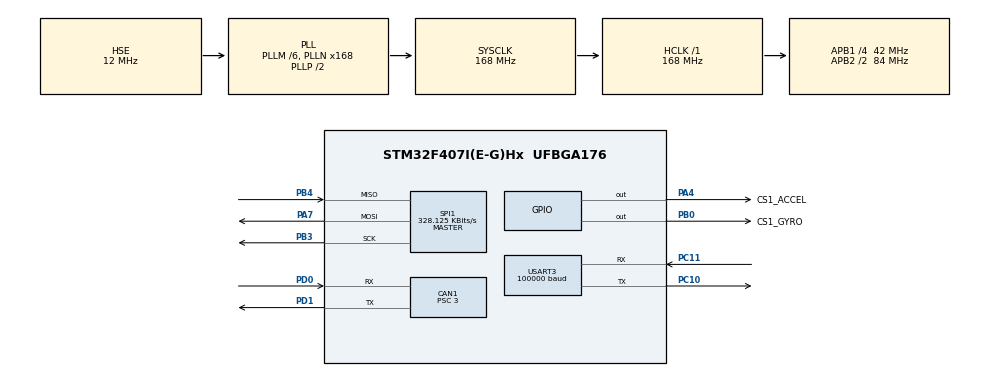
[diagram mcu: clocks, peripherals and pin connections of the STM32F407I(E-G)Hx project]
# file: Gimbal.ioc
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CAN1.ABOM=ENABLE
CAN1.BS1=CAN_BS1_10TQ
CAN1.BS2=CAN_BS2_3TQ
CAN1.CalculateBaudRate=1000000
CAN1.CalculateTimeBit=1000
CAN1.CalculateTimeQuantum=71.42857142857143
CAN1.Prescaler=3
Dma.Request0=USART3_RX
Dma.USART3_RX.0.Direction=DMA_PERIPH_TO_MEMORY
Dma.USART3_RX.0.FIFOMode=DMA_FIFOMODE_DISABLE
Dma.USART3_RX.0.Instance=DMA1_Stream1
Dma.USART3_RX.0.MemDataAlignment=DMA_MDATAALIGN_BYTE
Dma.USART3_RX.0.MemInc=DMA_MINC_ENABLE
Dma.USART3_RX.0.Mode=DMA_NORMAL
Dma.USART3_RX.0.PeriphDataAlignment=DMA_PDATAALIGN_BYTE
Dma.USART3_RX.0.PeriphInc=DMA_PINC_DISABLE
Dma.USART3_RX.0.Priority=DMA_PRIORITY_LOW
FREERTOS.Tasks01=defaultTask,24,128,StartDefaultTask,Default,NULL,Dynamic,NULL,NULL
Mcu.Family=STM32F4
Mcu.Name=STM32F407I(E-G)Hx
Mcu.Package=UFBGA176
NVIC.CAN1_RX0_IRQn=true\:6\:0\:true\:false\:true\:true\:true\:true\:true
NVIC.CAN1_SCE_IRQn=true\:5\:0\:false\:false\:true\:true\:true\:true\:true
NVIC.DMA1_Stream1_IRQn=true\:0\:0\:true\:false\:true\:false\:false\:true\:true
NVIC.PriorityGroup=NVIC_PRIORITYGROUP_4
NVIC.TIM6_DAC_IRQn=true\:15\:0\:false\:false\:true\:false\:false\:true\:true
NVIC.TIM7_IRQn=true\:0\:0\:true\:false\:true\:false\:true\:true\:true
NVIC.TimeBase=TIM6_DAC_IRQn
NVIC.TimeBaseIP=TIM6
PA13.Mode=Serial_Wire
PA13.Signal=SYS_JTMS-SWDIO
PA14.Mode=Serial_Wire
PA14.Signal=SYS_JTCK-SWCLK
PA4.GPIO_Label=CS1_ACCEL
PA4.PinState=GPIO_PIN_SET
PA4.Signal=GPIO_Output
PA7.Mode=Full_Duplex_Master
PA7.Signal=SPI1_MOSI
PB0.GPIO_Label=CS1_GYRO
PB0.PinState=GPIO_PIN_SET
PB0.Signal=GPIO_Output
PB3.Mode=Full_Duplex_Master
PB3.Signal=SPI1_SCK
PB4.Mode=Full_Duplex_Master
PB4.Signal=SPI1_MISO
PC10.Mode=Asynchronous
PC10.Signal=USART3_TX
PC11.Mode=Asynchronous
PC11.Signal=USART3_RX
PD0.GPIO_PuPd=GPIO_NOPULL
PD0.Mode=CAN_Activate
PD0.Signal=CAN1_RX
PD1.Mode=CAN_Activate
PD1.Signal=CAN1_TX
PH0-OSC_IN.Mode=HSE-External-Oscillator
PH0-OSC_IN.Signal=RCC_OSC_IN
PH1-OSC_OUT.Mode=HSE-External-Oscillator
PH1-OSC_OUT.Signal=RCC_OSC_OUT
ProjectManager.HeapSize=0x200
ProjectManager.StackSize=0x400
ProjectManager.TargetToolchain=CMake
RCC.48MHZClocksFreq_Value=84000000
RCC.AHBFreq_Value=168000000
RCC.APB1CLKDivider=RCC_HCLK_DIV4
RCC.APB1Freq_Value=42000000
RCC.APB1TimFreq_Value=84000000
RCC.APB2CLKDivider=RCC_HCLK_DIV2
RCC.APB2Freq_Value=84000000
RCC.APB2TimFreq_Value=168000000
RCC.CortexFreq_Value=168000000
RCC.HCLKFreq_Value=168000000
RCC.HSE_VALUE=12000000
RCC.HSI_VALUE=16000000
RCC.LSE_VALUE=32768
RCC.PLLM=6
RCC.PLLN=168
RCC.PLLSourceVirtual=RCC_PLLSOURCE_HSE
RCC.SYSCLKFreq_VALUE=168000000
RCC.SYSCLKSource=RCC_SYSCLKSOURCE_PLLCLK
RCC.VCOOutputFreq_Value=336000000
SPI1.BaudRatePrescaler=SPI_BAUDRATEPRESCALER_256
SPI1.CLKPhase=SPI_PHASE_2EDGE
SPI1.CLKPolarity=SPI_POLARITY_HIGH
SPI1.CalculateBaudRate=328.125 KBits/s
SPI1.Direction=SPI_DIRECTION_2LINES
SPI1.Mode=SPI_MODE_MASTER
SPI1.VirtualType=VM_MASTER
TIM7.Period=2625 - 1
TIM7.Prescaler=256 - 1
USART3.BaudRate=100000
USART3.Parity=PARITY_EVEN
USART3.VirtualMode=VM_ASYNC
USART3.WordLength=WORDLENGTH_9B
VP_FREERTOS_VS_CMSIS_V2.Mode=CMSIS_V2
VP_SYS_VS_tim6.Mode=TIM6
VP_TIM7_VS_ClockSourceINT.Mode=Enable_Timer
board=custom

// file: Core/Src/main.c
/* USER CODE BEGIN Header */
/**
  ******************************************************************************
  * @file           : main.c
  * @brief          : Main program body
  ******************************************************************************
  * @attention
  *
  * Copyright (c) 2025 STMicroelectronics.
  * All rights reserved.
  *
  * This software is licensed under terms that can be found in the LICENSE file
  * in the root directory of this software component.
  * If no LICENSE file comes with this software, it is provided AS-IS.
  *
  ******************************************************************************
  */
/* USER CODE END Header */
#include "main.h"
#include "cmsis_os.h"
#include "can.h"
#include "dma.h"
#include "spi.h"
#include "tim.h"
#include "usart.h"
#include "gpio.h"
#include "BMI088.h"

/* USER CODE BEGIN PV */
unsigned char rx_buf[20];
CAN_FilterTypeDef filter_config = {
    .FilterIdHigh = 0x000,
    .FilterIdLow = 0x000,
    .FilterMaskIdHigh = 0x000,
    .FilterMaskIdLow = 0x000,
    .FilterFIFOAssignment = CAN_FILTER_FIFO0,
    .FilterBank = 0,
    .FilterMode = CAN_FILTERMODE_IDMASK,
    .FilterScale = CAN_FILTERSCALE_32BIT,
    .FilterActivation = ENABLE
  };
/* USER CODE END PV */

void SystemClock_Config(void);
void MX_FREERTOS_Init(void);

int main(void)
{

  /* MCU Configuration--------------------------------------------------------*/

  /* Reset of all peripherals, Initializes the Flash interface and the Systick. */
  HAL_Init();

  /* Configure the system clock */
  SystemClock_Config();

  /* Initialize all configured peripherals */
  MX_GPIO_Init();
  MX_DMA_Init();
  MX_TIM7_Init();
  MX_USART3_UART_Init();
  MX_SPI1_Init();
  MX_CAN1_Init();
  /* USER CODE BEGIN 2 */
    HAL_UARTEx_ReceiveToIdle_DMA(&huart3, rx_buf, 18);
    HAL_CAN_ConfigFilter(&hcan1, &filter_config);
    HAL_CAN_Start(&hcan1);
    HAL_CAN_ActivateNotification(&hcan1, CAN_IT_RX_FIFO0_MSG_PENDING);
    HAL_TIM_Base_Start_IT(&htim7);
	bmi088_init();
  /* USER CODE END 2 */

  /* Init scheduler */
  osKernelInitialize();  /* Call init function for freertos objects (in cmsis_os2.c) */
  MX_FREERTOS_Init();

  /* Start scheduler */
  osKernelStart();

  /* We should never get here as control is now taken by the scheduler */

  /* Infinite loop */
  while (1)
  {

  }
}

void SystemClock_Config(void)
{
  RCC_OscInitTypeDef RCC_OscInitStruct = {0};
  RCC_ClkInitTypeDef RCC_ClkInitStruct = {0};

  /** Configure the main internal regulator output voltage
  */
  __HAL_RCC_PWR_CLK_ENABLE();
  __HAL_PWR_VOLTAGESCALING_CONFIG(PWR_REGULATOR_VOLTAGE_SCALE1);

  /** Initializes the RCC Oscillators according to the specified parameters
  * in the RCC_OscInitTypeDef structure.
  */
  RCC_OscInitStruct.OscillatorType = RCC_OSCILLATORTYPE_HSE;
  RCC_OscInitStruct.HSEState = RCC_HSE_ON;
  RCC_OscInitStruct.PLL.PLLState = RCC_PLL_ON;
  RCC_OscInitStruct.PLL.PLLSource = RCC_PLLSOURCE_HSE;
  RCC_OscInitStruct.PLL.PLLM = 6;
  RCC_OscInitStruct.PLL.PLLN = 168;
  RCC_OscInitStruct.PLL.PLLP = RCC_PLLP_DIV2;
  RCC_OscInitStruct.PLL.PLLQ = 4;
  if (HAL_RCC_OscConfig(&RCC_OscInitStruct) != HAL_OK)
  {
    Error_Handler();
  }

  /** Initializes the CPU, AHB and APB buses clocks
  */
  RCC_ClkInitStruct.ClockType = RCC_CLOCKTYPE_HCLK|RCC_CLOCKTYPE_SYSCLK
                              |RCC_CLOCKTYPE_PCLK1|RCC_CLOCKTYPE_PCLK2;
  RCC_ClkInitStruct.SYSCLKSource = RCC_SYSCLKSOURCE_PLLCLK;
  RCC_ClkInitStruct.AHBCLKDivider = RCC_SYSCLK_DIV1;
  RCC_ClkInitStruct.APB1CLKDivider = RCC_HCLK_DIV4;
  RCC_ClkInitStruct.APB2CLKDivider = RCC_HCLK_DIV2;

  if (HAL_RCC_ClockConfig(&RCC_ClkInitStruct, FLASH_LATENCY_5) != HAL_OK)
  {
    Error_Handler();
  }
}

void HAL_TIM_PeriodElapsedCallback(TIM_HandleTypeDef *htim)
{
  if (htim->Instance == TIM6)
  {
    HAL_IncTick();
  }
  /* USER CODE BEGIN Callback 1 */
     if (htim->Instance == TIM7)
     {
         // HAL_IWDG_Refresh(&hiwdg);
     }
  /* USER CODE END Callback 1 */
}

void Error_Handler(void)
{
  __disable_irq();
  while (1)
  {
  }
}

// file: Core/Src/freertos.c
/* USER CODE BEGIN Header */
/**
  ******************************************************************************
  * File Name          : freertos.c
  * Description        : Code for freertos applications
  ******************************************************************************
  * @attention
  *
  * Copyright (c) 2025 STMicroelectronics.
  * All rights reserved.
  *
  * This software is licensed under terms that can be found in the LICENSE file
  * in the root directory of this software component.
  * If no LICENSE file comes with this software, it is provided AS-IS.
  *
  ******************************************************************************
  */
/* USER CODE END Header */

#include "FreeRTOS.h"
#include "task.h"
#include "main.h"
#include "cmsis_os.h"

/* USER CODE BEGIN Includes */
#include "UserTask.h"
/* USER CODE END Includes */

/* Definitions for defaultTask */
osThreadId_t defaultTaskHandle;
const osThreadAttr_t defaultTask_attributes = {
  .name = "defaultTask",
  .stack_size = 128 * 4,
  .priority = (osPriority_t) osPriorityNormal,
};

void StartDefaultTask(void *argument);

void MX_FREERTOS_Init(void); /* (MISRA C 2004 rule 8.1) */

void MX_FREERTOS_Init(void) {
  /* USER CODE BEGIN Init */
    user_task_init();
  /* USER CODE END Init */

  /* Create the thread(s) */
  /* creation of defaultTask */
  defaultTaskHandle = osThreadNew(StartDefaultTask, NULL, &defaultTask_attributes);

}

void StartDefaultTask(void *argument)
{
  for(;;)
  {
    osDelay(1);
  }
}
